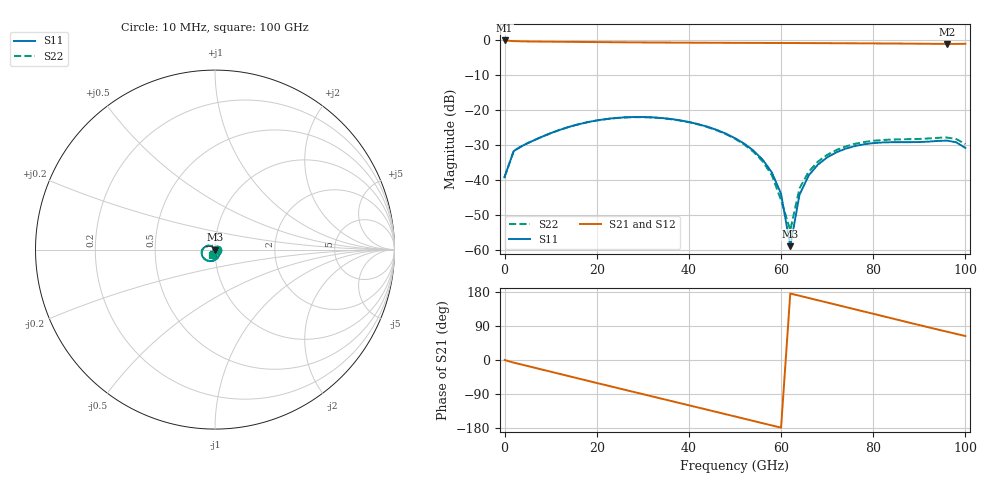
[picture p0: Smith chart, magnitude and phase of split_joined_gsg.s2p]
! Created with skrf 2.2.0 (http://scikit-rf.org).
# GHz S RI R 50.0
!freq ReS11 ImS11 ReS21 ImS21 ReS12 ImS12 ReS22 ImS22
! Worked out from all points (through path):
!   52 points, 10 MHz to 100 GHz, reference 50 ohm
!   highest |S21| = -0.09 dB at 10 MHz (marker M1); lowest = -1.1 dB at 96 GHz (marker M2)
!   group delay of S21, straight-line fit = 8.23 ps
!   lowest |S11| = -59.0 dB at 62 GHz (marker M3), VSWR 1.00, Z = 49.9 - j0.0517 ohm
!   |S11| at or under -10 dB: start of sweep to end of sweep
!   |S22| runs from -54.4 to -22.0 dB; largest |S21 - S12| = 1.6e-11
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0.01  0.0108 0.000501  0.9892 -0.00113  0.9892 -0.00113  0.0108 0.000502
2  0.0259 -0.000233  0.961 -0.1175  0.961 -0.1175  0.026 -0.000107
10  0.0168 -0.0434  0.8164 -0.4866  0.8164 -0.4866  0.0166 -0.0434
18  -0.0206 -0.0637  0.5439 -0.7666  0.5439 -0.7666  -0.0207 -0.0635
26  -0.0586 -0.0521  0.1886 -0.9115  0.1886 -0.9115  -0.0586 -0.0516
34  -0.0743 -0.0198  -0.1899 -0.9038  -0.1899 -0.9038  -0.0741 -0.019
44  -0.0556 0.0155  -0.6053 -0.6892  -0.6053 -0.6892  -0.0546 0.0166
52  -0.026 0.0203  -0.8273 -0.3875  -0.8273 -0.3875  -0.0242 0.0211
56  -0.0131 0.0144  -0.8874 -0.2091  -0.8874 -0.2091  -0.0109 0.0149
58  -0.008 0.00998  -0.9033 -0.1162  -0.9033 -0.1162  -0.00555 0.0103
60  -0.00393 0.00492  -0.9095 -0.0222  -0.9095 -0.0222  -0.00133 0.00494
62  -0.000998 -0.000519  -0.906 0.0718  -0.906 0.0718  0.00174 -0.000778
64  0.000807 -0.00607  -0.8926 0.165  -0.8926 0.165  0.00364 -0.00663
66  0.00155 -0.0115  -0.8697 0.2562  -0.8697 0.2562  0.00444 -0.0124
68  0.00133 -0.0165  -0.8374 0.3444  -0.8374 0.3444  0.00424 -0.0177
70  0.000338 -0.021  -0.7962 0.4288  -0.7962 0.4288  0.00321 -0.0226
74  -0.0032 -0.0278  -0.6888 0.582  -0.6888 0.582  -0.000537 -0.0301
84  -0.0115 -0.0327  -0.3064 0.8403  -0.3064 0.8403  -0.0101 -0.0364
90  -0.0116 -0.0328  -0.0341 0.888  -0.0341 0.888  -0.0114 -0.0368
96  -0.013 -0.034  0.2332 0.8507  0.2332 0.8507  -0.0141 -0.0379
98  -0.0145 -0.0313  0.3164 0.8238  0.3164 0.8238  -0.0159 -0.035
100  -0.0123 -0.0259  0.3997 0.7914  0.3997 0.7914  -0.014 -0.0294
